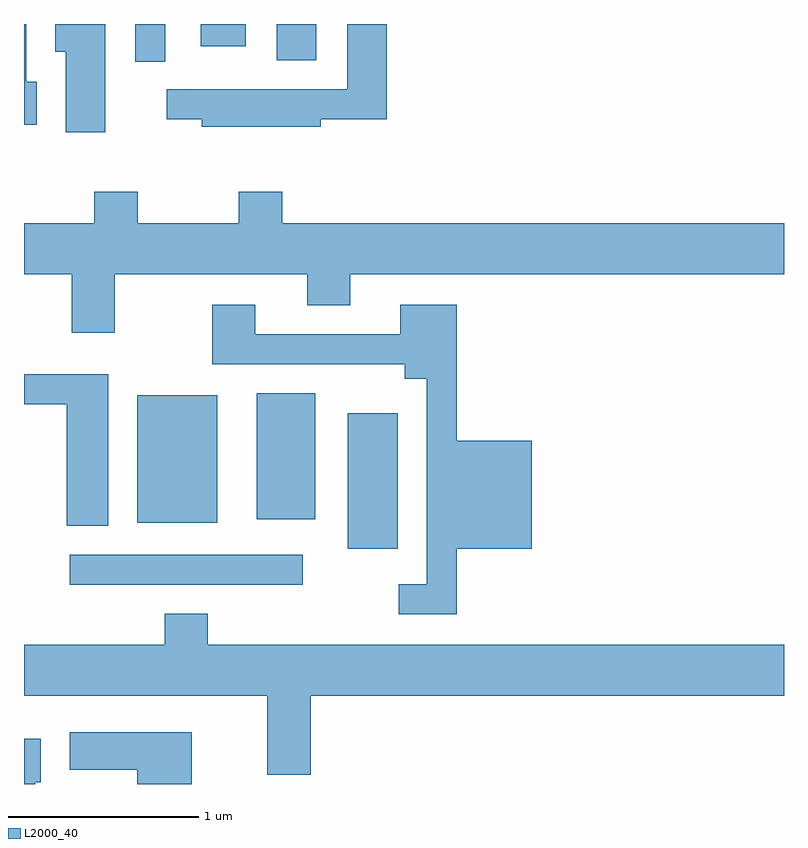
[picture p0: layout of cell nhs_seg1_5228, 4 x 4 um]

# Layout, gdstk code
import gdstk
lib = gdstk.Library(unit=1e-6, precision=1e-09)
def R(c, l, rs):  # rectangles x0, y0, x1, y1
    for r in rs: c.add(gdstk.rectangle(r[:2], r[2:], *l))
def P(c, l, *ps):  # polygons
    for p in ps: c.add(gdstk.Polygon(p, *l))
L2000_40 = (2000, 40)

nhs_seg1_5228 = lib.new_cell('nhs_seg1_5228')
R(nhs_seg1_5228, L2000_40, [(341.853,966.761,343.078,966.919), (343.316,966.951,343.579,967.664), (342.206,967.086,342.629,967.759), (342.836,967.106,343.144,967.769), (342.196,969.513,342.354,969.712), (342.941,969.521,343.149,969.712), (342.541,969.596,342.779,969.712)])
P(nhs_seg1_5228, L2000_40, [(342.039,969.712),(341.776,969.712),(341.776,969.566),(341.831,969.566),(341.831,969.141),(342.039,969.141)],
  [(343.174,969.211),(343.519,969.211),(343.519,969.712),(343.311,969.712),(343.311,969.369),(342.363,969.369),(342.363,969.211),(342.546,969.211),(342.546,969.171),(343.174,969.171)],
  [(341.679,969.409),(341.624,969.409),(341.624,969.712),(341.611,969.712),(341.611,969.181),(341.679,969.181)],
  [(342.089,968.396),(343.101,968.396),(343.101,968.231),(343.329,968.231),(343.329,968.396),(345.611,968.396),(345.611,968.664),(342.969,968.664),(342.969,968.829),(342.741,968.829),(342.741,968.664),(342.209,968.664),(342.209,968.829),(341.981,968.829),(341.981,968.664),(341.611,968.664),(341.611,968.396),(341.861,968.396),(341.861,968.086),(342.089,968.086)],
  [(343.889,966.951),(344.284,966.951),(344.284,967.519),(343.889,967.519),(343.889,968.234),(343.591,968.234),(343.591,968.079),(342.829,968.079),(342.829,968.234),(342.601,968.234),(342.601,967.921),(343.616,967.921),(343.616,967.846),(343.731,967.846),(343.731,966.764),(343.583,966.764),(343.583,966.606),(343.889,966.606)],
  [(342.054,967.869),(341.611,967.869),(341.611,967.711),(341.836,967.711),(341.836,967.071),(342.054,967.071)],
  [(343.119,966.176),(345.611,966.176),(345.611,966.444),(342.579,966.444),(342.579,966.609),(342.351,966.609),(342.351,966.444),(341.611,966.444),(341.611,966.176),(342.891,966.176),(342.891,965.761),(343.119,965.761)],
  [(342.494,965.984),(341.851,965.984),(341.851,965.786),(342.206,965.786),(342.206,965.712),(342.494,965.712)],
  [(341.669,965.721),(341.699,965.721),(341.699,965.949),(341.611,965.949),(341.611,965.712),(341.669,965.712)])

lib.write_gds('nhs_seg1_5228.gds')
